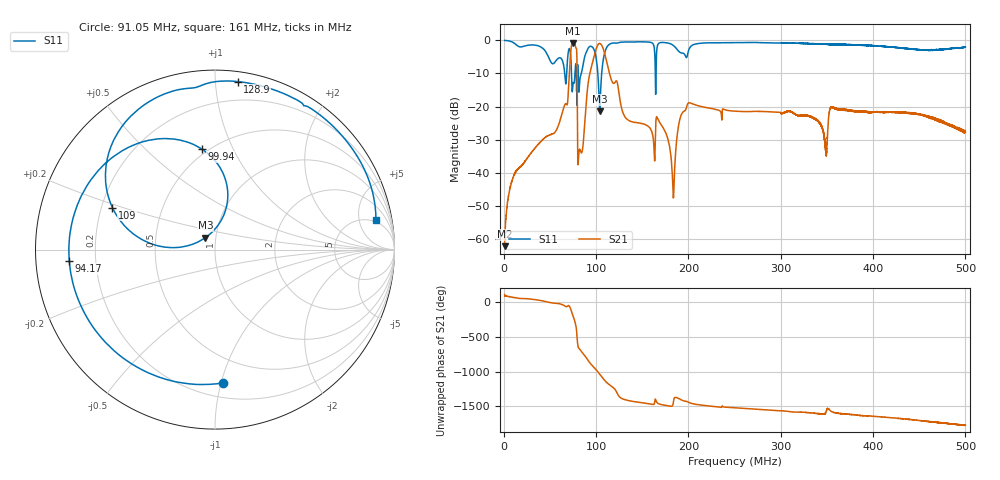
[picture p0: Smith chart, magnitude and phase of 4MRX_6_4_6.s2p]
! NanoVNA-App
! Date: 2026-08-19 15:05:32
! Start: 1MHz Stop: 500MHz Points: 6401
! S-Parameter data: F S11 S21 S12 S22
# Hz S RI R 50
!  Frequency  S11_Real  S11_Imag  S21_Real  S21_Imag  S12_Real  S12_Imag  S22_Real  S22_Imag
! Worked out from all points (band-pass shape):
!   6401 points, 1 MHz to 500 MHz, reference 50 ohm
!   highest |S21| = -0.85 dB at 74.6 MHz (marker M1); lowest = -62.2 dB at 1 MHz (marker M2)
!   |S21| within 3 dB of the highest: 72.53 MHz to 79.15 MHz (6.629 MHz wide, 8.74 % of centre); 98.82 MHz to 109.3 MHz (10.45 MHz wide, 10 % of centre)
!   lowest |S11| = -21.4 dB at 104 MHz (marker M3), VSWR 1.19, Z = 44.5 + j5.94 ohm
!   |S11| at or under -10 dB: 73.44 MHz to 77.2 MHz (3.76 MHz wide, 4.99 % of centre); 80.65 MHz to 84.04 MHz (3.389 MHz wide, 4.12 % of centre); 102 MHz to 106.1 MHz (4.168 MHz wide, 4.01 % of centre)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
!   S12 and S22 are empty: the file has one direction only
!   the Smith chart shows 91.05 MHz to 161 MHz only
!   S11 on the Smith chart (normalised r, x): 91.05 MHz: 0.30, -1.01; 94.17 MHz: 0.10, -0.04; 99.94 MHz: 0.46, +0.76; 109 MHz: 0.25, +0.19; 128.9 MHz: 0.07, +1.14; 161 MHz: 4.54, +8.73
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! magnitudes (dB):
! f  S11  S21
! 1 MHz  0.0  -62.2
! 11.99 MHz  -0.9  -40.3
! 59.63 MHz  -5.3  -25.4
! 74.6 MHz  -14.8  -0.8
! 77.1 MHz  -10.5  -1.2
! 84.19 MHz  -9.8  -34.0
! 91.05 MHz  -2.6  -13.9
! 94.17 MHz  -1.8  -8.9
! 99.94 MHz  -4.9  -2.8
! 104 MHz  -21.4  -0.9
! 109 MHz  -4.2  -3.6
! 128.9 MHz  -0.5  -21.7
! 161 MHz  -0.8  -28.1
! 167.4 MHz  -1.0  -24.0
! 183.5 MHz  -1.5  -46.6
! 200.3 MHz  -3.0  -18.9
! 250.5 MHz  -0.7  -21.4
! 333.7 MHz  -1.0  -23.3
! 348.4 MHz  -1.2  -32.0
! 355.5 MHz  -1.2  -20.3
! 416.9 MHz  -1.9  -21.6
! 500 MHz  -2.0  -27.8
